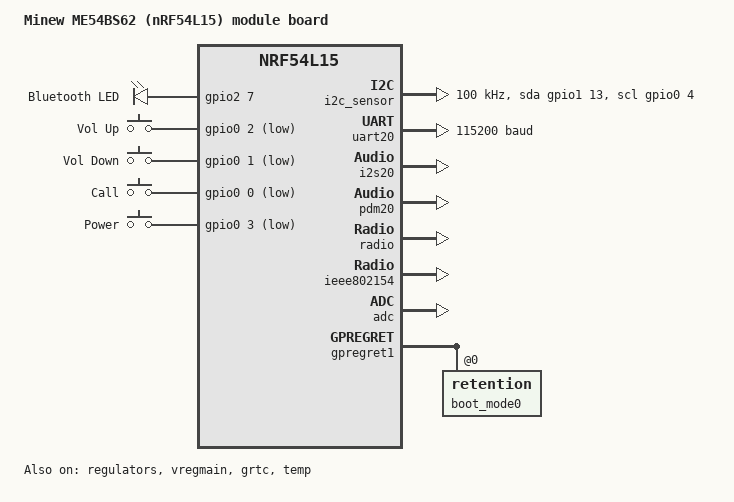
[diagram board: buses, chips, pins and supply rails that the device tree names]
/*
 * Minew ME54BS62 - module nRF54L15 (WLCSP, CAAA) co anten PCB, gan tren "Helmet board".
 *
 * Theo datasheet ME54BS62 v1.0.0 (docs/ME54BS62-nRF54L15_Datasheet_K_EN.pdf):
 *   - Y1 32 MHz   noi XC1/XC2  -> HFXO, dung tu tai noi (internal)
 *   - Y2 32.768 kHz noi P1.00/P1.01 (XL1/XL2) -> LFXO, 2 chan nay KHONG ra pad
 *   - ML1 cuon cam DC/DC giua DCC va DECD -> bat che do DC/DC
 *   - SWD: SWDIO = B3, SWCLK = B4, nRESET = C2, VCC = D7
 */

/dts-v1/;

#include <nordic/nrf54l15_cpuapp.dtsi>
#include "me54bs62-pinctrl.dtsi"

/ {
	model = "Minew ME54BS62 (nRF54L15) module board";
	compatible = "minew,me54bs62-cpuapp";

	chosen {
		zephyr,console = &uart20;
		zephyr,shell-uart = &uart20;
		zephyr,uart-mcumgr = &uart20;
		zephyr,bt-mon-uart = &uart20;
		zephyr,bt-c2h-uart = &uart20;
		zephyr,code-partition = &slot0_partition;
		zephyr,sram = &cpuapp_sram;
		zephyr,flash = &cpuapp_rram;
		zephyr,flash-controller = &rram_controller;
		zephyr,ieee802154 = &ieee802154;
		zephyr,boot-mode = &boot_mode0;
	};

	/*
	 * ===== Phan cung tren "Helmet board" (docs/PCB helmet main schematic.pdf) =====
	 */
	leds {
		compatible = "gpio-leds";

		/* D3 qua transistor Q1 SS8050 (R16 2.2k) -> muc cao = LED sang */
		bt_led: led_0 {
			gpios = <&gpio2 7 GPIO_ACTIVE_HIGH>;	/* P2.07 - pad G2 */
			label = "Bluetooth LED";
		};
	};

	/*
	 * 4 nut tren board nut: noi xuong GND khi nhan, pull-up 10k + tu 0.1uF tren
	 * mach chinh -> active low. Tat ca o P0 (co GPIOTE30).
	 * Van bat pull-up noi (~13k): neu pull-up ngoai/moi han bi ho thi chan khong
	 * bi tha noi (tranh "nhan nut ao"); chi ton them ~0.25 mA trong luc dang nhan.
	 */
	buttons {
		compatible = "gpio-keys";

		btn_vol_up: button_0 {
			gpios = <&gpio0 2 (GPIO_PULL_UP | GPIO_ACTIVE_LOW)>;	/* P0.02 - pad E1 */
			label = "Vol Up";
			zephyr,code = <INPUT_KEY_VOLUMEUP>;
		};

		btn_vol_down: button_1 {
			gpios = <&gpio0 1 (GPIO_PULL_UP | GPIO_ACTIVE_LOW)>;	/* P0.01 - pad D1 */
			label = "Vol Down";
			zephyr,code = <INPUT_KEY_VOLUMEDOWN>;
		};

		btn_call: button_2 {
			gpios = <&gpio0 0 (GPIO_PULL_UP | GPIO_ACTIVE_LOW)>;	/* P0.00 - pad C1 */
			label = "Call";
			zephyr,code = <INPUT_KEY_PLAYPAUSE>;
		};

		btn_power: button_3 {
			gpios = <&gpio0 3 (GPIO_PULL_UP | GPIO_ACTIVE_LOW)>;	/* P0.03 - pad F1 */
			label = "Power";
			zephyr,code = <INPUT_KEY_POWER>;
		};
	};

	/*
	 * I2C cho cam bien nhiet hong ngoai MLX90632 (dia chi 0x3A, ADDR = GND).
	 * SDA = P1.13 (G6) va SCL = P0.04 (G1) nam o 2 mien nguon khac nhau -> khong
	 * TWIM nao dung duoc (TWIM2x chi P1, TWIM30 chi P0, TWIM khong co cross-domain)
	 * -> dung I2C bit-bang qua GPIO. Mach chua co dien tro keo len cho SDA/SCL nen
	 * tam dung pull-up noi (~13k); nen them 4.7k ra 3.3V o ban PCB sau.
	 */
	i2c_sensor: i2c-sensor {
		compatible = "gpio-i2c";
		status = "okay";
		clock-frequency = <I2C_BITRATE_STANDARD>;
		scl-gpios = <&gpio0 4 (GPIO_OPEN_DRAIN | GPIO_PULL_UP)>;
		sda-gpios = <&gpio1 13 (GPIO_OPEN_DRAIN | GPIO_PULL_UP)>;
		#address-cells = <1>;
		#size-cells = <0>;
	};

	aliases {
		led0 = &bt_led;
		sw0 = &btn_vol_up;
		sw1 = &btn_vol_down;
		sw2 = &btn_call;
		sw3 = &btn_power;
		i2c-sensor = &i2c_sensor;
		mcuboot-button0 = &btn_power;
		mcuboot-led0 = &bt_led;
		watchdog0 = &wdt31;
	};
};

&cpuapp_sram {
	status = "okay";
};

/*
 * Tu tai thach anh: module khong co tu ngoai cho Y1/Y2 nen dung tu noi cua SoC.
 * Gia tri lay theo nRF54L15 DK - nen xac nhan CL cua thach anh voi Minew
 * (datasheet: "confirm the specific configuration required with the salesperson").
 */
&lfxo {
	load-capacitors = "internal";
	load-capacitance-femtofarad = <17000>;
};

&hfxo {
	load-capacitors = "internal";
	load-capacitance-femtofarad = <15000>;
};

&regulators {
	status = "okay";
};

/* ML1 co san trong module -> dung DC/DC de giam dong tieu thu */
&vregmain {
	status = "okay";
	regulator-initial-mode = <NRF5X_REG_MODE_DCDC>;
};

&grtc {
	owned-channels = <0 1 2 3 4 5 6 7 8 9 10 11>;
	/* Channels 7-11 reserved for Zero Latency IRQs, 3-4 for FLPR */
	child-owned-channels = <3 4 7 8 9 10 11>;
	status = "okay";
};

&uart20 {
	status = "okay";
	current-speed = <115200>;
	pinctrl-0 = <&uart20_default>;
	pinctrl-1 = <&uart20_sleep>;
	pinctrl-names = "default", "sleep";
};

/* Loa: 2 x MAX98357A (I2S, 16/24/32-bit, 8-96 kHz, khong can MCK) */
&i2s20 {
	status = "okay";
	pinctrl-0 = <&i2s20_default>;
	pinctrl-1 = <&i2s20_sleep>;
	pinctrl-names = "default", "sleep";
};

/* Micro: 2 x IM69D130 PDM stereo tren 1 duong DATA */
&pdm20 {
	status = "okay";
	clock-source = "PCLK32M";
	pinctrl-0 = <&pdm20_default>;
	pinctrl-1 = <&pdm20_sleep>;
	pinctrl-names = "default", "sleep";
};

/*
 * P1.02 (pad D6) / P1.03 (pad C6) mac dinh dung lam GPIO thuong.
 * Neu mach cua ban co anten NFC: xoa dong nfct-pins-as-gpios va dat status = "okay".
 */
&nfct {
	nfct-pins-as-gpios;
};

&gpio0 {
	status = "okay";
};

&gpio1 {
	status = "okay";
};

&gpio2 {
	status = "okay";
};

&gpiote20 {
	status = "okay";
};

&gpiote30 {
	status = "okay";
};

&radio {
	status = "okay";
};

&ieee802154 {
	status = "okay";
};

&temp {
	status = "okay";
};

&clock {
	status = "okay";
};

&adc {
	status = "okay";
};

&gpregret1 {
	status = "okay";

	boot_mode0: boot_mode@0 {
		compatible = "zephyr,retention";
		status = "okay";
		reg = <0x0 0x1>;
	};
};

/* Bang phan vung RRAM mac dinh cua nRF54L15 (MCUboot 62K + 2 slot 712K + storage 36K) */
#include <vendor/nordic/nrf54l15_cpuapp_partition.dtsi>
